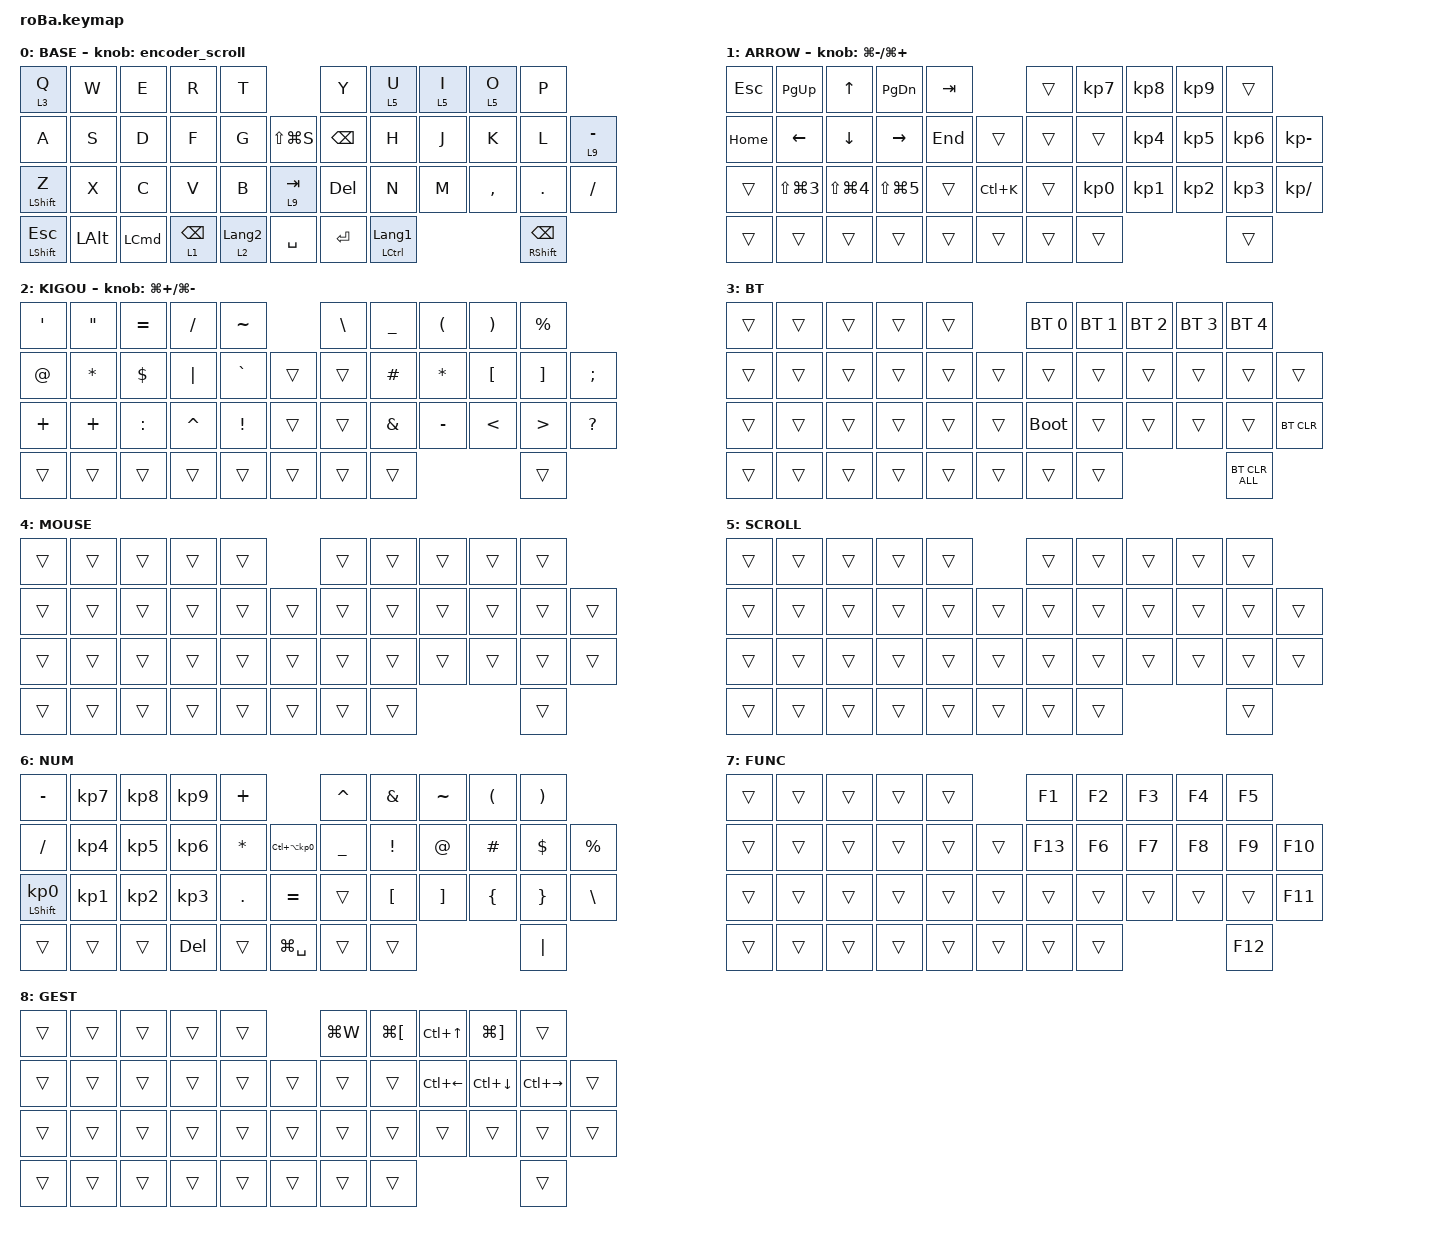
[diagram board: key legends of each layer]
/*
 * このファイルは自動生成です。直接編集しないでください。
 *
 * マスター : https://github.com/dgarai/zmk-config-moNa2-v2 の config/mona2.keymap
 * 生成     : マスター側の tools/sync-keymap.py（--variant roBa）
 *
 * キーマップを変えたいときはマスターを編集してください。ここへの変更は
 * 次回の同期で上書きされます。同期の止め方・元に戻し方は KEYMAP-SYNC.md を参照。
 */

#define ZMK_POINTING_DEFAULT_SCRL_VAL 80

#include <behaviors.dtsi>
#include <dt-bindings/zmk/bt.h>
#include <dt-bindings/zmk/keys.h>
#include <dt-bindings/zmk/pointing.h>

&mt {
    flavor = "balanced";
    quick-tap-ms = <0>;
};

&trackball {
    //automouse-layer = <4>;

    scroll-layers = <5>;

    // arrows {
    //     layers = <3>;
    //     bindings =
    //         <&kp RIGHT_ARROW>,
    //         <&kp LEFT_ARROW>,
    //         <&kp UP_ARROW>,
    //         <&kp DOWN_ARROW>;
    //     tick = <10>;
    //     wait-ms = <5>;
    //     tap-ms = <5>;
    // };
};

/ {
    combos {
        compatible = "zmk,combos";

        Center {
            bindings = <&mkp MB3>;
            key-positions = <18 20>;
            timeout-ms = <80>;              // 50→80。同時押しをゆるく
            require-prior-idle-ms = <50>;   // 125→50。取りこぼしで j/k が漏れるため緩める
        };

        left {
            bindings = <&mkp MB1>;
            key-positions = <18 19>;
            timeout-ms = <80>;              // 50→80。同時押しをゆるく
            require-prior-idle-ms = <50>;   // 125→50。取りこぼしで j/k が漏れるため緩める
        };

        right {
            bindings = <&mkp MB2>;
            key-positions = <19 20>;
            timeout-ms = <80>;              // 50→80。同時押しをゆるく
            require-prior-idle-ms = <50>;   // 125→50。取りこぼしで k/l が漏れるため緩める
        };

        // J + K + L 同時押しで押している間だけ SCROLL レイヤー(5)へ

        scroll_mode {
            bindings = <&mo 5>;
            key-positions = <18 19 20>;
            timeout-ms = <80>;              // 他のJ/K/Lコンボと合わせる
            require-prior-idle-ms = <50>;   // 他のJ/K/Lコンボと合わせる
        };

        Escape {
            bindings = <&kp ESCAPE>;
            key-positions = <0 1>;
            timeout-ms = <80>;              // 50→80。同時押しをゆるく
            require-prior-idle-ms = <125>;  // 打鍵中は発火させない
        };

        tab {
            bindings = <&kp TAB>;
            key-positions = <4 3>;
        };
    };

    macros {
        to_layer_0: to_layer_0 {
            compatible = "zmk,behavior-macro-one-param";
            #binding-cells = <1>;
            bindings = <&to 0 &macro_param_1to1 &kp MACRO_PLACEHOLDER>;
            label = "TO_LAYER_0";
        };
    };

    behaviors {
        lt_to_layer_0: lt_to_layer_0 {
            compatible = "zmk,behavior-hold-tap";
            label = "LAYER_TAP_TO_0";
            bindings = <&mo>, <&to_layer_0>;

            #binding-cells = <2>;
            tapping-term-ms = <200>;
        };

        // エンコーダ用マウスホイールスクロール（上下）

        encoder_scroll: encoder_scroll {
            compatible = "zmk,behavior-sensor-rotate";
            #sensor-binding-cells = <0>;
            bindings = <&msc SCRL_DOWN>, <&msc SCRL_UP>;

            tap-ms = <20>;
        };

        // --- 以下は moNa2 標準の定義。現キーマップでは未使用だが温存 ---

        hm: hm {
            compatible = "zmk,behavior-hold-tap";
            label = "HM";
            bindings = <&kp>, <&kp>;

            #binding-cells = <2>;
            quick-tap-ms = <180>;
            flavor = "tap-preferred";
            hold-trigger-on-release;
            tapping-term-ms = <300>;
        };

        ltq: ltq {
            compatible = "zmk,behavior-hold-tap";
            label = "LTQ";
            bindings = <&mo>, <&kp>;

            #binding-cells = <2>;
            tapping-term-ms = <200>;
            quick-tap-ms = <180>;
        };
    };

    keymap {
        compatible = "zmk,keymap";

        default_layer {
            bindings = <
&lt 3 Q             &kp W         &kp E             &kp R            &kp T                                         &kp Y                        &lt 5 U  &lt 5 I    &lt 5 O     &kp P
&kp A               &kp S         &kp D             &kp F            &kp G                          &kp LS(LG(S))  &kp BACKSPACE  &kp H                        &kp J    &kp K      &kp L       &lt 9 MINUS
&mt LEFT_SHIFT Z    &kp X         &kp C             &kp V            &kp B             &lt 9 TAB    &kp DELETE     &kp N                        &kp M    &kp COMMA  &kp PERIOD  &kp SLASH
&mt LEFT_SHIFT ESC  &kp LEFT_ALT  &kp LEFT_COMMAND  &lt 1 BACKSPACE  &lt 2 LANGUAGE_2  &kp SPACE    &kp ENTER      &mt LEFT_CONTROL LANGUAGE_1                                  &mt RIGHT_SHIFT BACKSPACE
            >;

            sensor-bindings = <&encoder_scroll>;   // マウスホイール上下スクロール
            display-name = "BASE";
        };

        ARROW {
            bindings = <
&kp ESCAPE  &kp PAGE_UP           &kp UP_ARROW          &kp PAGE_DOWN         &kp TAB                       &trans           &kp KP_NUMBER_7  &kp KP_NUMBER_8  &kp KP_NUMBER_9  &trans
&kp HOME    &kp LEFT_ARROW        &kp DOWN_ARROW        &kp RIGHT_ARROW       &kp END               &trans  &trans  &trans           &kp KP_NUMBER_4  &kp KP_NUMBER_5  &kp KP_NUMBER_6  &kp KP_MINUS
&trans      &kp LS(LG(NUMBER_3))  &kp LS(LG(NUMBER_4))  &kp LS(LG(NUMBER_5))  &trans   &kp LC(K)    &trans  &kp KP_NUMBER_0  &kp KP_NUMBER_1  &kp KP_NUMBER_2  &kp KP_NUMBER_3  &kp KP_SLASH
&trans      &trans                &trans                &trans                &trans   &trans       &trans  &trans                                                              &trans
            >;

            sensor-bindings = <&inc_dec_kp LG(MINUS) LG(PLUS)>;
            display-name = "ARROW";
        };

        KIGOU {
            bindings = <
&kp SINGLE_QUOTE  &kp DOUBLE_QUOTES  &kp EQUAL   &kp SLASH  &kp TILDE                          &kp BACKSLASH  &kp UNDER  &kp LEFT_PARENTHESIS  &kp RIGHT_PARENTHESIS  &kp PERCENT
&kp AT            &kp STAR           &kp DOLLAR  &kp PIPE   &kp GRAVE                  &trans  &trans  &kp HASH       &kp STAR   &kp LEFT_BRACKET      &kp RIGHT_BRACKET      &kp SEMICOLON
&kp PLUS          &kp PLUS           &kp COLON   &kp CARET  &kp EXCLAMATION  &trans    &trans  &kp AMPERSAND  &kp MINUS  &kp LESS_THAN         &kp GREATER_THAN       &kp QUESTION
&trans            &trans             &trans      &trans     &trans           &trans    &trans  &trans                                                                 &trans
            >;

            sensor-bindings = <&inc_dec_kp LG(PLUS) LG(MINUS)>;
            display-name = "KIGOU";
        };

        Bluetooth {
            bindings = <
&trans  &trans  &trans  &trans  &trans                         &bt BT_SEL 0  &bt BT_SEL 1  &bt BT_SEL 2  &bt BT_SEL 3  &bt BT_SEL 4
&trans  &trans  &trans  &trans  &trans            &trans  &trans       &trans        &trans        &trans        &trans        &trans
&trans  &trans  &trans  &trans  &trans  &trans    &bootloader  &trans        &trans        &trans        &trans        &bt BT_CLR
&trans  &trans  &trans  &trans  &trans  &trans    &trans       &trans                                                  &bt BT_CLR_ALL
            >;

            display-name = "BT";
        };

        MOUSE {
            bindings = <
&trans  &trans  &trans  &trans  &trans                    &trans  &trans  &trans  &trans  &trans
&trans  &trans  &trans  &trans  &trans            &trans  &trans  &trans  &trans  &trans  &trans  &trans
&trans  &trans  &trans  &trans  &trans  &trans    &trans  &trans  &trans  &trans  &trans  &trans
&trans  &trans  &trans  &trans  &trans  &trans    &trans  &trans                          &trans
            >;

            display-name = "MOUSE";
        };

        SCROLL {
            bindings = <
&trans  &trans  &trans  &trans  &trans                    &trans  &trans  &trans  &trans  &trans
&trans  &trans  &trans  &trans  &trans            &trans  &trans  &trans  &trans  &trans  &trans  &trans
&trans  &trans  &trans  &trans  &trans  &trans    &trans  &trans  &trans  &trans  &trans  &trans
&trans  &trans  &trans  &trans  &trans  &trans    &trans  &trans                          &trans
            >;

            display-name = "SCROLL";
        };

        NUM {
            bindings = <
&kp MINUS                   &kp KP_NUMBER_7  &kp KP_NUMBER_8  &kp KP_NUMBER_9  &kp PLUS                                       &kp CARET         &kp AMPERSAND      &kp TILDE       &kp LEFT_PARENTHESIS  &kp RIGHT_PARENTHESIS
&kp SLASH                   &kp KP_NUMBER_4  &kp KP_NUMBER_5  &kp KP_NUMBER_6  &kp ASTERISK                   &kp LC(LA(KP_NUMBER_0))  &kp UNDERSCORE  &kp EXCLAMATION   &kp AT_SIGN        &kp HASH        &kp DOLLAR            &kp PERCENT
&mt LEFT_SHIFT KP_NUMBER_0  &kp KP_NUMBER_1  &kp KP_NUMBER_2  &kp KP_NUMBER_3  &kp PERIOD    &kp EQUAL        &trans          &kp LEFT_BRACKET  &kp RIGHT_BRACKET  &kp LEFT_BRACE  &kp RIGHT_BRACE       &kp BACKSLASH
&trans                      &trans           &trans           &kp DELETE       &trans        &kp LG(SPACE)    &trans          &trans                                                                     &kp PIPE
            >;

            display-name = "NUM";
        };

        FUNCTION {
            bindings = <
&trans  &trans  &trans  &trans  &trans                     &kp F1  &kp F2  &kp F3  &kp F4  &kp F5
&trans  &trans  &trans  &trans  &trans            &trans  &kp F13  &kp F6  &kp F7  &kp F8  &kp F9  &kp F10
&trans  &trans  &trans  &trans  &trans  &trans    &trans   &trans  &trans  &trans  &trans  &kp F11
&trans  &trans  &trans  &trans  &trans  &trans    &trans   &trans                          &kp F12
            >;

            display-name = "FUNC";
        };

        GESTURE {
            bindings = <
&trans  &trans  &trans  &trans  &trans                    &kp LG(W)  &kp LG(LEFT_BRACKET)  &kp LC(UP)    &kp LG(RIGHT_BRACKET)  &trans
&trans  &trans  &trans  &trans  &trans            &trans  &trans  &trans     &kp LC(LEFT)          &kp LC(DOWN)  &kp LC(RIGHT)          &trans
&trans  &trans  &trans  &trans  &trans  &trans    &trans  &trans     &trans                &trans        &trans                 &trans
&trans  &trans  &trans  &trans  &trans  &trans    &trans  &trans                                                                &trans
            >;

            display-name = "GEST";
        };
    };
};
